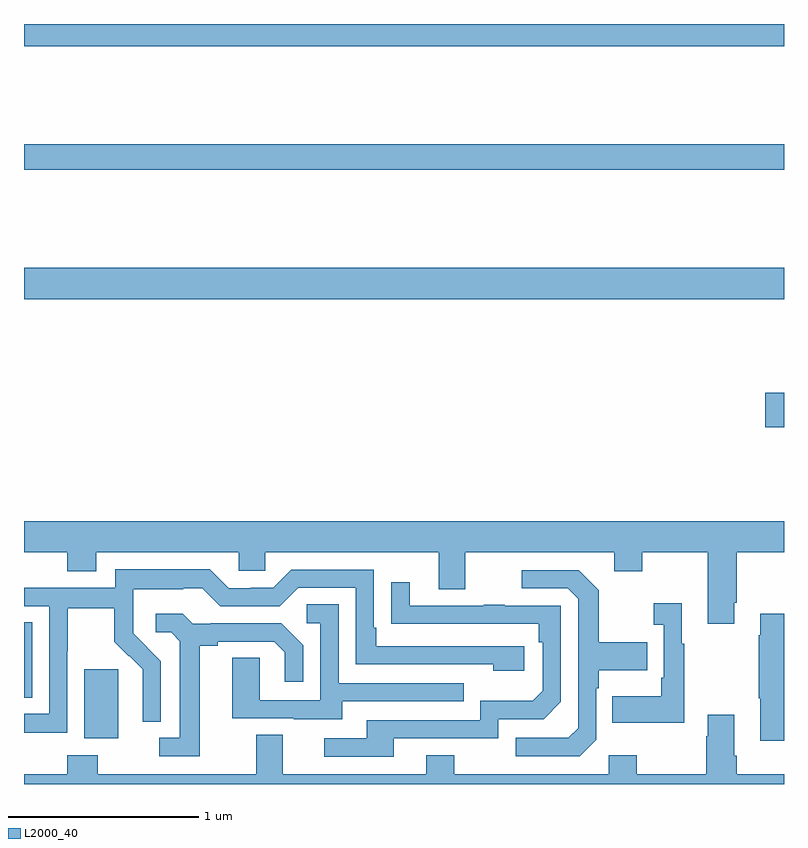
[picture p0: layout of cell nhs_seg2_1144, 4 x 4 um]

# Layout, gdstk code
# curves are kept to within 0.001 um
import gdstk
lib = gdstk.Library(unit=1e-6, precision=1e-09)
def R(c, l, rs):  # rectangles x0, y0, x1, y1
    for r in rs: c.add(gdstk.rectangle(r[:2], r[2:], *l))
def P(c, l, *ps):  # polygons
    for p in ps: c.add(gdstk.Polygon(p, *l))
L2000_40 = (2000, 40)

nhs_seg2_1144 = lib.new_cell('nhs_seg2_1144')
R(nhs_seg2_1144, L2000_40, [(171.317,596.042,171.496,596.403), (171,596.254,171.043,596.651), (174.9,597.677,175,597.86), (171,598.352,175,598.516), (171,599.032,175,599.168), (171,599.684,175,599.8)])
P(nhs_seg2_1144, L2000_40, [(174.739,596.755),(174.752,596.755),(174.752,597.02),(175,597.02),(175,597.184),(171,597.184),(171,597.02),(171.227,597.02),(171.227,596.921),(171.379,596.921),(171.379,597.02),(172.131,597.02),(172.131,596.922),(172.269,596.922),(172.269,597.02),(173.183,597.02),(173.183,596.826),(173.323,596.826),(173.323,597.02),(174.107,597.02),(174.107,596.921),(174.255,596.921),(174.255,597.02),(174.599,597.02),(174.599,596.643),(174.739,596.643)],
  [(171.228,596.5),(171.231,596.5),(171.231,596.724),(171.475,596.724),(171.475,596.549),(171.552,596.472),(171.555,596.475),(171.626,596.405),(171.626,596.282),(171.624,596.282),(171.624,596.128),(171.72,596.128),(171.72,596.446),(171.574,596.594),(171.574,596.691),(171.576,596.691),(171.576,596.825),(171.839,596.825),(171.839,596.829),(171.939,596.829),(172.032,596.736),(172.347,596.736),(172.443,596.832),(172.746,596.832),(172.746,596.43),(173.471,596.43),(173.471,596.396),(173.632,596.396),(173.632,596.526),(172.855,596.526),(172.855,596.623),(172.842,596.623),(172.842,596.928),(172.407,596.928),(172.311,596.832),(172.193,596.832),(172.193,596.829),(172.077,596.829),(171.977,596.929),(171.48,596.929),(171.48,596.832),(171,596.832),(171,596.736),(171.132,596.736),(171.132,596.169),(171,596.169),(171,596.071),(171.228,596.071)],
  [(174.012,596.034),(174.012,596.303),(174.025,596.303),(174.025,596.399),(174.281,596.399),(174.281,596.547),(174.025,596.547),(174.025,596.819),(173.919,596.925),(173.619,596.925),(173.619,596.829),(173.862,596.829),(173.916,596.775),(173.916,596.094),(173.865,596.043),(173.589,596.043),(173.589,595.947),(173.925,595.947)],
  [(172.945,596.04),(173.496,596.04),(173.496,596.142),(173.736,596.142),(173.826,596.232),(173.826,596.739),(173.531,596.739),(173.531,596.744),(173.419,596.744),(173.419,596.739),(173.029,596.739),(173.029,596.863),(172.933,596.863),(172.933,596.644),(173.71,596.643),(173.71,596.546),(173.73,596.546),(173.73,596.292),(173.677,596.239),(173.4,596.239),(173.4,596.136),(172.805,596.136),(172.805,596.04),(172.581,596.04),(172.581,595.944),(172.945,595.944)],
  [(174.475,596.539),(174.463,596.539),(174.463,596.752),(174.315,596.752),(174.315,596.639),(174.366,596.639),(174.366,596.359),(174.354,596.359),(174.354,596.263),(174.097,596.263),(174.097,596.123),(174.475,596.123)],
  [(172.675,596.235),(173.315,596.235),(173.315,596.331),(172.656,596.331),(172.656,596.747),(172.488,596.747),(172.488,596.646),(172.56,596.646),(172.56,596.241),(172.242,596.241),(172.242,596.465),(172.097,596.465),(172.097,596.145),(172.421,596.145),(172.421,596.141),(172.675,596.141)],
  [(175,596.695),(174.875,596.695),(174.875,596.582),(174.868,596.582),(174.868,596.251),(174.875,596.251),(174.875,596.028),(175,596.028)],
  [(171.925,596.528),(172.021,596.528),(172.021,596.55),(172.316,596.55),(172.373,596.493),(172.373,596.337),(172.47,596.337),(172.47,596.53),(172.354,596.646),(171.982,596.646),(171.982,596.643),(171.888,596.643),(171.836,596.695),(171.693,596.695),(171.693,596.598),(171.774,596.598),(171.821,596.551),(171.821,596.043),(171.711,596.043),(171.711,595.947),(171.925,595.947)],
  [(175,595.852),(174.752,595.852),(174.752,595.948),(174.739,595.948),(174.739,596.164),(174.599,596.164),(174.599,596.051),(174.592,596.051),(174.592,595.852),(174.225,595.852),(174.225,595.951),(174.078,595.951),(174.078,595.852),(173.265,595.852),(173.265,595.951),(173.117,595.951),(173.117,595.852),(172.363,595.852),(172.363,596.06),(172.223,596.06),(172.223,595.852),(171.387,595.852),(171.387,595.951),(171.227,595.951),(171.227,595.852),(171,595.852),(171,595.8),(175,595.8)])

lib.write_gds('nhs_seg2_1144.gds')
